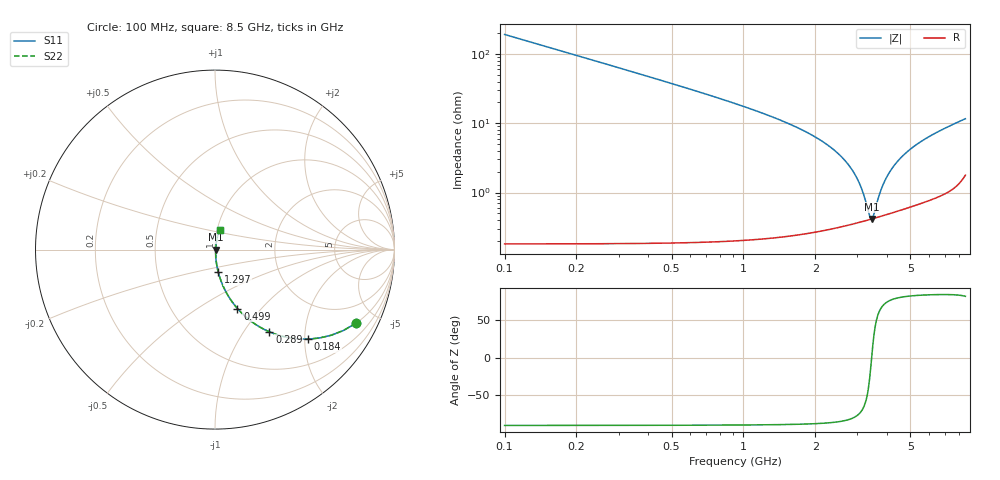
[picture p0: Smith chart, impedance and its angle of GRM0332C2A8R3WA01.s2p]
!Murata Part Number: GRM0332C2A8R3WA01
!These Parameters are Measured in Series Mode Connection
!Data Generated on Mar 30, 2021
!  o--ll--o
!Port1  Port2
!  o------o
!Operation Temp=25[degC], DC Bias Voltage=0[V]
!Freq. Start=100[MHz] Stop=9[GHz] 401[Steps]
# Hz S RI R 50
!Freq.(Hz) S11(Real) S11(Imag) S21(Real) S21(Imag) S12(Real) S12(Imag) S22(Real) S22(Imag)
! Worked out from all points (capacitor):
!   401 points, 100 MHz to 8.5 GHz, reference 50 ohm
!   read as one part in series: C = 8.3 pF near 142 MHz
!   lowest |Z| = 414 mohm at 3.439 GHz (marker M1)
!   series resonance near 3.443 GHz, so ESL is about 260 pH
!   S11 on the Smith chart (normalised r, x): 100 MHz: 1.00, -3.83; 184 MHz: 1.00, -2.08; 289 MHz: 1.00, -1.32; 499 MHz: 1.00, -0.75; 1.297 GHz: 1.00, -0.25; 8.5 GHz: 1.04, +0.23
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1e8  0.7857 -0.4099  0.2143 0.4099  0.2143 0.4099  0.7857 -0.4099
1.84e8  0.5191 -0.4988  0.4809 0.4988  0.4809 0.4988  0.5191 -0.4988
2.89e8  0.3031 -0.4582  0.6969 0.4582  0.6969 0.4582  0.3031 -0.4582
3.73e8  0.206 -0.4026  0.794 0.4026  0.794 0.4026  0.206 -0.4026
4.99e8  0.1251 -0.3284  0.8749 0.3284  0.8749 0.3284  0.1251 -0.3284
8.35e8  0.0463 -0.2056  0.9537 0.2056  0.9537 0.2056  0.0463 -0.2056
1.297e9  0.0179 -0.1241  0.9821 0.1241  0.9821 0.1241  0.0179 -0.1241
1.507e9  0.0127 -0.1011  0.9873 0.1011  0.9873 0.1011  0.0127 -0.1011
2.41e9  0.00464 -0.04  0.9954 0.04  0.9954 0.04  0.00464 -0.04
2.914e9  0.00387 -0.0184  0.9961 0.0184  0.9961 0.0184  0.00387 -0.0184
3.103e9  0.00387 -0.0114  0.9961 0.0114  0.9961 0.0114  0.00387 -0.0114
3.376e9  0.00405 -0.00214  0.9959 0.00214  0.9959 0.00214  0.00405 -0.00214
3.439e9  0.00412 -0.000121  0.9959 0.000121  0.9959 0.000121  0.00412 -0.000121
3.502e9  0.0042 0.00186  0.9958 -0.00186  0.9958 -0.00186  0.0042 0.00186
3.691e9  0.00448 0.0076  0.9955 -0.0076  0.9955 -0.0076  0.00448 0.0076
3.859e9  0.00478 0.0125  0.9952 -0.0125  0.9952 -0.0125  0.00478 0.0125
4.048e9  0.00518 0.0177  0.9948 -0.0177  0.9948 -0.0177  0.00518 0.0177
4.3e9  0.00578 0.0243  0.9942 -0.0243  0.9942 -0.0243  0.00578 0.0243
4.888e9  0.00747 0.0387  0.9925 -0.0387  0.9925 -0.0387  0.00747 0.0387
5.707e9  0.0104 0.0567  0.9896 -0.0567  0.9896 -0.0567  0.0104 0.0567
7.114e9  0.0171 0.0846  0.9829 -0.0846  0.9829 -0.0846  0.0171 0.0846
8.5e9  0.0298 0.1094  0.9702 -0.1094  0.9702 -0.1094  0.0298 0.1094
